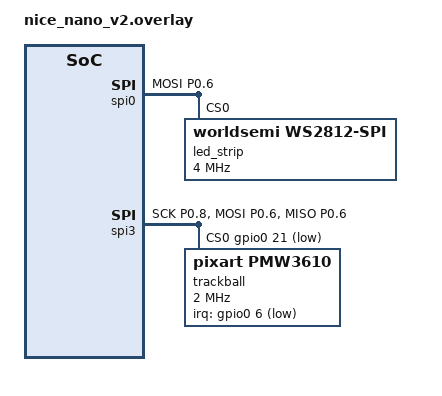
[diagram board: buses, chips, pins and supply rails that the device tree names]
#include <dt-bindings/led/led.h>

&pinctrl {
    spi0_default: spi0_default {
        group1 {
            psels = <NRF_PSEL(SPIM_MOSI, 0, 6)>;
        };
    };

    spi0_sleep: spi0_sleep {
        group1 {
            psels = <NRF_PSEL(SPIM_MOSI, 0, 6)>;
            low-power-enable;
        };
    };
};

&pinctrl {
    spi3_default: spi3_default {
        group1 {
            psels = <NRF_PSEL(SPIM_SCK, 0, 8)>,
                <NRF_PSEL(SPIM_MOSI, 0, 6)>,
                <NRF_PSEL(SPIM_MISO, 0, 6)>;
        };
    };

    spi3_sleep: spi3_sleep {
        group1 {
            psels = <NRF_PSEL(SPIM_SCK, 0, 8)>,
                <NRF_PSEL(SPIM_MOSI, 0, 6)>,
                <NRF_PSEL(SPIM_MISO, 0, 6)>;
            low-power-enable;
        };
    };
};

#include <zephyr/dt-bindings/input/input-event-codes.h>

&spi0 {
    compatible = "nordic,nrf-spim";
    status = "okay";

    pinctrl-0 = <&spi0_default>;
    pinctrl-1 = <&spi0_sleep>;
    pinctrl-names = "default", "sleep";

    led_strip: ws2812@0 {
        compatible = "worldsemi,ws2812-spi";

        /* SPI */
        reg = <0>; /* ignored, but necessary for SPI bindings */
        spi-max-frequency = <4000000>;

        /* WS2812 */
        chain-length = <49>; /* arbitrary; change at will */
        spi-one-frame = <0x70>;
        spi-zero-frame = <0x40>;

        color-mapping = <
            LED_COLOR_ID_GREEN
            LED_COLOR_ID_RED
            LED_COLOR_ID_BLUE
        >;
    };
};

/ {
    chosen {
        zmk,underglow = &led_strip;
    };
};

&spi3 {
    compatible = "nordic,nrf-spim";
    status = "okay";

    pinctrl-0 = <&spi3_default>;
    pinctrl-1 = <&spi3_sleep>;
    pinctrl-names = "default", "sleep";
    
    cs-gpios = <&gpio0 21 GPIO_ACTIVE_LOW>;
    
    trackball: trackball@0 {
        status = "okay";
        compatible = "pixart,pmw3610";
        reg = <0>;
        spi-max-frequency = <2000000>;
        irq-gpios = <&gpio0 6 (GPIO_ACTIVE_LOW | GPIO_PULL_UP)>;
        cpi = <600>;
        evt-type = <INPUT_EV_REL>;
        x-input-code = <INPUT_REL_X>;
        y-input-code = <INPUT_REL_Y>;

        force-awake;
    };
};

/ {
  trackball_listener {
    compatible = "zmk,input-listener";
    device = <&trackball>;
  };
};

